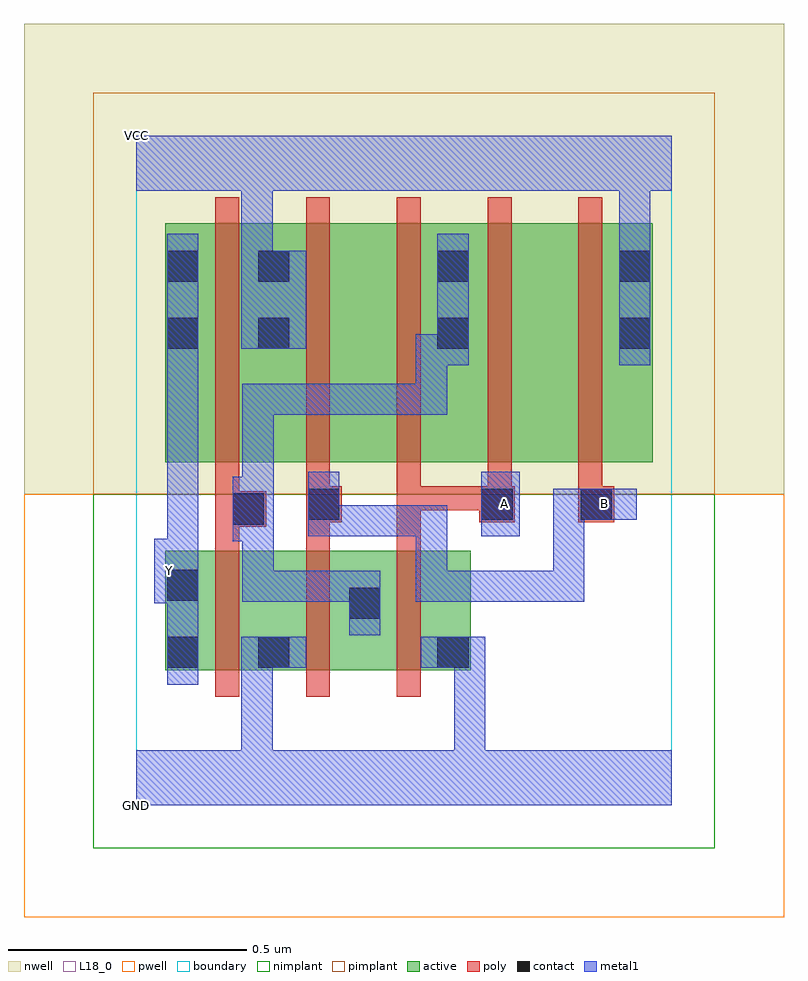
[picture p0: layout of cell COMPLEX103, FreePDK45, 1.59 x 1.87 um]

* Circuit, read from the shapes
.subckt COMPLEX103 A B GND VCC Y
M1 GND n1 Y VSUBS nfet w=0.25u l=0.05u
M2 n1 B GND VSUBS nfet w=0.25u l=0.05u
M3 GND A n1 VSUBS nfet w=0.25u l=0.05u
M4 VCC n1 Y n2 pfet w=0.5u l=0.05u
M5 n3 B VCC n2 pfet w=0.5u l=0.05u
M6 n1 A n3 n2 pfet w=0.5u l=0.05u
M7 n4 A n1 n2 pfet w=0.5u l=0.05u
M8 VCC B n4 n2 pfet w=0.5u l=0.05u
.ends

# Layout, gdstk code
import gdstk
lib = gdstk.Library(unit=1e-6, precision=1e-09)
def R(c, l, rs):  # rectangles x0, y0, x1, y1
    for r in rs: c.add(gdstk.rectangle(r[:2], r[2:], *l))
def A(c, l, x, y, w, h, nx, ny, dx, dy):  # array of equal rectangles
    R(c, l, [(x+i*dx, y+j*dy, x+i*dx+w, y+j*dy+h) for i in range(nx) for j in range(ny)])
active = (1, 0)
pwell = (2, 0)
nwell = (3, 0)
nimplant = (4, 0)
pimplant = (5, 0)
poly = (9, 0)
contact = (10, 0)
metal1 = (11, 0)
L18_0 = (18, 0)
boundary = (235, 0)

complex103 = lib.new_cell('COMPLEX103')
R(complex103, active, [(0.06,0.282,0.135,0.532), (0.06,0.282,0.325,0.532), (0.25,0.282,0.515,0.532), (0.25,0.282,0.325,0.405), (0.44,0.282,0.7,0.532), (0.44,0.282,0.515,0.46), (0.625,0.282,0.7,0.532), (0.06,0.717,0.325,1.217), (0.06,0.717,0.135,1.2), (0.25,0.717,0.475,1.217), (0.475,0.717,0.7,1.217), (0.625,0.717,0.855,1.217), (0.855,0.717,1.08,1.217), (1.005,0.717,1.08,1.205), (0.25,0.807,0.325,1.205), (0.625,0.807,0.7,1.2)])
R(complex103, pwell, [(-0.235,-0.235,1.355,0.65)])
R(complex103, nwell, [(-0.235,0.65,1.355,1.635)])
R(complex103, nimplant, [(-0.09,-0.09,1.21,0.65)])
R(complex103, pimplant, [(-0.09,0.65,1.21,1.49)])
A(complex103, poly, 0.165, 0.227, 0.05, 0.36, 3, 1, 0.19, 0)
A(complex103, poly, 0.355, 0.617, 0.05, 0.095, 4, 1, 0.19, 0)
A(complex103, poly, 0.165, 0.662, 0.05, 0.61, 5, 1, 0.19, 0)
R(complex103, poly, [(0.165,0.537,0.215,0.632), (0.355,0.537,0.405,0.642), (0.545,0.537,0.595,0.667), (0.165,0.582,0.272,0.657), (0.355,0.592,0.43,0.667), (0.717,0.592,0.792,0.667), (0.925,0.592,1,0.667), (0.165,0.607,0.215,0.712), (0.545,0.617,0.767,0.667), (0.545,0.617,0.595,0.667), (0.545,0.617,0.595,0.667), (0.545,0.617,0.595,0.667)])
R(complex103, contact, [(0.065,0.287,0.13,0.352), (0.255,0.287,0.32,0.352), (0.63,0.287,0.695,0.352), (0.445,0.39,0.51,0.455), (0.065,0.427,0.13,0.492), (0.202,0.587,0.267,0.652), (0.36,0.597,0.425,0.662), (0.722,0.597,0.787,0.662), (0.93,0.597,0.995,0.662), (0.065,0.955,0.13,1.02), (0.255,0.955,0.32,1.02), (0.63,0.955,0.695,1.02), (1.01,0.955,1.075,1.02), (0.065,1.095,0.13,1.16), (0.255,1.095,0.32,1.16), (0.63,1.095,0.695,1.16), (1.01,1.095,1.075,1.16)])
R(complex103, metal1, [(0,0,1.12,0.115), (0.22,0.05,0.285,0.115), (0.22,0.05,0.285,0.115), (0.22,0.05,0.285,0.115), (0.22,0.05,0.285,0.115), (0.22,0.05,0.285,0.352), (0.665,0.05,0.73,0.115), (0.665,0.05,0.73,0.115), (0.665,0.05,0.73,0.115), (0.665,0.05,0.73,0.115), (0.665,0.05,0.73,0.352), (0.065,0.252,0.13,0.527), (0.22,0.287,0.355,0.352), (0.595,0.287,0.73,0.352), (0.445,0.355,0.51,0.49), (0.037,0.422,0.13,0.557), (0.222,0.425,0.287,0.49), (0.222,0.425,0.51,0.49), (0.222,0.425,0.287,0.617), (0.445,0.425,0.51,0.49), (0.445,0.425,0.51,0.49), (0.585,0.425,0.65,0.49), (0.585,0.425,0.787,0.49), (0.585,0.425,0.65,0.627), (0.722,0.425,0.787,0.49), (0.722,0.425,0.937,0.49), (0.872,0.425,0.937,0.49), (0.872,0.425,0.937,0.662), (0.065,0.462,0.13,0.527), (0.065,0.492,0.13,0.985), (0.202,0.552,0.267,0.687), (0.202,0.552,0.287,0.617), (0.222,0.552,0.287,0.617), (0.222,0.552,0.287,0.882), (0.36,0.562,0.425,0.627), (0.36,0.562,0.425,0.627), (0.36,0.562,0.65,0.627), (0.36,0.562,0.425,0.697), (0.585,0.562,0.65,0.627), (0.585,0.562,0.65,0.627), (0.585,0.562,0.65,0.627), (0.722,0.562,0.802,0.697), (0.872,0.597,0.937,0.662), (0.872,0.597,0.96,0.662), (0.895,0.597,1.047,0.662), (0.222,0.817,0.287,0.882), (0.222,0.817,0.512,0.882), (0.447,0.817,0.512,0.882), (0.447,0.817,0.512,0.882), (0.447,0.817,0.512,0.882), (0.447,0.817,0.65,0.882), (0.585,0.817,0.65,0.985), (0.065,0.92,0.13,1.195), (0.585,0.92,0.695,0.985), (0.63,0.92,0.695,1.195), (1.01,0.92,1.075,1.195), (0.22,0.955,0.355,1.16), (0.22,1.095,0.285,1.35), (1.01,1.13,1.075,1.195), (1.01,1.13,1.075,1.195), (1.01,1.13,1.075,1.35), (0,1.285,1.12,1.4), (0.22,1.285,0.285,1.35), (0.22,1.285,0.285,1.35)])
R(complex103, L18_0, [(0,0,1.12,0.115), (0.22,0.05,0.285,0.115), (0.22,0.05,0.285,0.115), (0.22,0.05,0.285,0.115), (0.22,0.05,0.285,0.115), (0.22,0.05,0.285,0.352), (0.665,0.05,0.73,0.115), (0.665,0.05,0.73,0.115), (0.665,0.05,0.73,0.115), (0.665,0.05,0.73,0.115), (0.665,0.05,0.73,0.352), (0.065,0.252,0.13,0.527), (0.22,0.287,0.355,0.352), (0.595,0.287,0.73,0.352), (0.037,0.422,0.13,0.557), (0.585,0.425,0.65,0.49), (0.585,0.425,0.65,0.627), (0.585,0.425,0.787,0.49), (0.722,0.425,0.787,0.49), (0.722,0.425,0.937,0.49), (0.872,0.425,0.937,0.49), (0.872,0.425,0.937,0.662), (0.037,0.457,0.102,0.522), (0.065,0.462,0.13,0.527), (0.065,0.492,0.13,0.985), (0.36,0.562,0.425,0.627), (0.36,0.562,0.425,0.627), (0.36,0.562,0.425,0.697), (0.36,0.562,0.65,0.627), (0.585,0.562,0.65,0.627), (0.585,0.562,0.65,0.627), (0.585,0.562,0.65,0.627), (0.722,0.562,0.802,0.697), (0.737,0.597,0.802,0.662), (0.872,0.597,0.937,0.662), (0.872,0.597,0.96,0.662), (0.895,0.597,1.047,0.662), (0.947,0.597,1.012,0.662), (0.065,0.92,0.13,1.195), (1.01,0.92,1.075,1.195), (0.22,0.955,0.355,1.16), (0.22,1.095,0.285,1.35), (1.01,1.13,1.075,1.195), (1.01,1.13,1.075,1.195), (1.01,1.13,1.075,1.35), (0,1.285,1.12,1.4), (0.22,1.285,0.285,1.35), (0.22,1.285,0.285,1.35)])
R(complex103, boundary, [(0,0,1.12,1.4)])
complex103.add(gdstk.Label('A', (0.77,0.63), layer=11, texttype=0))
complex103.add(gdstk.Label('B', (0.98,0.63), layer=11, texttype=0))
complex103.add(gdstk.Label('Y', (0.07,0.49), layer=11, texttype=0))
complex103.add(gdstk.Label('VCC', (0,1.4), layer=11, texttype=0))
complex103.add(gdstk.Label('GND', (0,0), layer=11, texttype=0))

lib.write_gds('COMPLEX103.gds')
